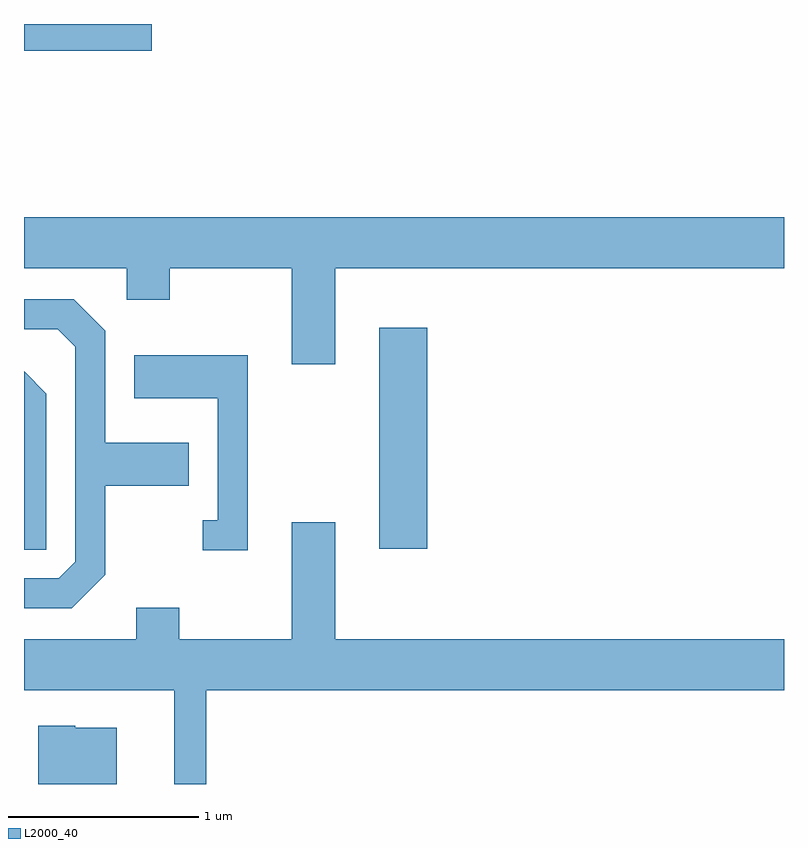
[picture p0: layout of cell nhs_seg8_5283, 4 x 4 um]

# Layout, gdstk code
import gdstk
lib = gdstk.Library(unit=1e-6, precision=1e-09)
def R(c, l, rs):  # rectangles x0, y0, x1, y1
    for r in rs: c.add(gdstk.rectangle(r[:2], r[2:], *l))
def P(c, l, *ps):  # polygons
    for p in ps: c.add(gdstk.Polygon(p, *l))
L2000_40 = (2000, 40)

nhs_seg8_5283 = lib.new_cell('nhs_seg8_5283')
R(nhs_seg8_5283, L2000_40, [(345.481,1861.581,345.734,1862.744), (343.611,1864.201,344.284,1864.342)])
P(nhs_seg8_5283, L2000_40, [(345.249,1863.056),(347.611,1863.056),(347.611,1863.324),(343.611,1863.324),(343.611,1863.056),(344.151,1863.056),(344.151,1862.891),(344.379,1862.891),(344.379,1863.056),(345.021,1863.056),(345.021,1862.551),(345.249,1862.551)],
  [(344.013,1861.417),(344.039,1861.444),(344.039,1861.911),(344.479,1861.911),(344.479,1862.139),(344.039,1862.139),(344.039,1862.727),(343.872,1862.894),(343.611,1862.894),(343.611,1862.736),(343.789,1862.736),(343.881,1862.644),(343.881,1861.512),(343.794,1861.424),(343.611,1861.424),(343.611,1861.266),(343.862,1861.266)],
  [(344.789,1862.599),(344.191,1862.599),(344.191,1862.371),(344.631,1862.371),(344.631,1861.729),(344.553,1861.729),(344.553,1861.571),(344.789,1861.571)],
  [(343.729,1862.397),(343.611,1862.515),(343.611,1861.576),(343.729,1861.576)],
  [(344.569,1860.836),(347.611,1860.836),(347.611,1861.104),(345.249,1861.104),(345.249,1861.719),(345.021,1861.719),(345.021,1861.104),(344.429,1861.104),(344.429,1861.269),(344.201,1861.269),(344.201,1861.104),(343.611,1861.104),(343.611,1860.836),(344.401,1860.836),(344.401,1860.342),(344.569,1860.342)],
  [(344.099,1860.639),(343.88,1860.639),(343.88,1860.649),(343.686,1860.649),(343.686,1860.342),(344.099,1860.342)])

lib.write_gds('nhs_seg8_5283.gds')
